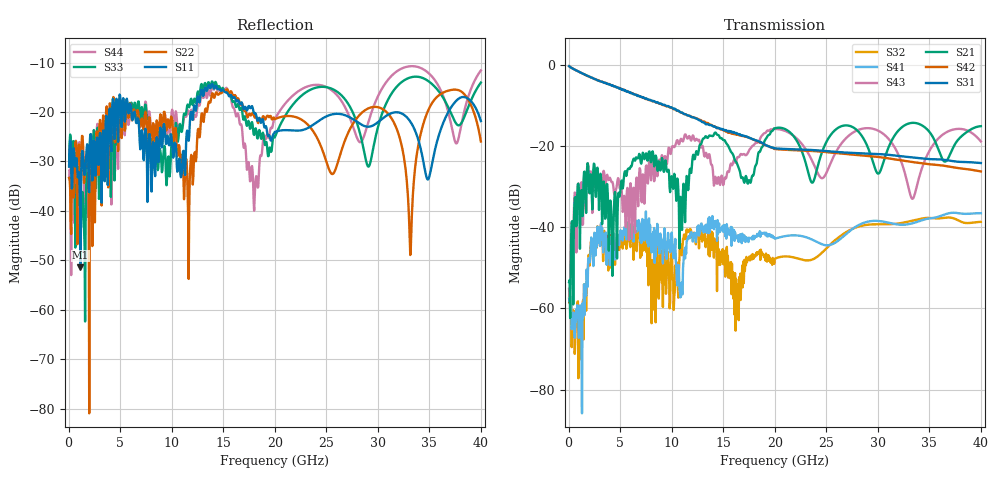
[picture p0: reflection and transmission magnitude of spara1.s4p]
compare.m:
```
%% compare concatenated touchstone files generated by the ads project and the new algorithm

%% loads the concatenated touchstone file generated by the ads project 
addpath('C:\Users\younger\Documents\MATLAB\_develop\_chasim\impulse_response_oct2012');
addpath('C:\Users\younger\Documents\MATLAB\_develop\_chasim\SYZ_conversions');

s4ppath = 'C:\Users\younger\Documents\MATLAB\_develop\_chasim\Qlogic_Cetus_wrk';
ads_s4pname = 'spara1.s4p';
ads_s4pfile = fullfile(s4ppath, ads_s4pname);
ads_s4pstruct = tsnpimporti(ads_s4pfile);

%% loads the three individual touchstone files used by the ads project and pass them onto the newly written concatenate function 



%% plot the two concatenated results in one graph 

for i = 1:800
    x(i) = ads_s4pstruct.data(1,1,i);
end

plot(ads_s4pstruct.freqlist, 10 * log(x));
xlabel('freq/Hz');
ylabel('S(1,1)/dB');
title('S-parameter comparison');
grid on;
hold;
```
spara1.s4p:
! Created Fri Jan 30 21:06:49 2015
# hz S ma R 50
! 4 Port Network Data from SP1.SP block
! freq  magS11  angS11  magS12  angS12  magS13  angS13  magS14  angS14
!  magS21  angS21  magS22  angS22  magS23  angS23  magS24  angS24
!  magS31  angS31  magS32  angS32  magS33  angS33  magS34  angS34
!  magS41  angS41  magS42  angS42  magS43  angS43  magS44  angS44
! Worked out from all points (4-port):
!   800 points, 50 MHz to 40 GHz, reference 50 ohm
!   strongest paths, dB at 50 MHz, 10.05 GHz, 20.05 GHz, 30.05 GHz, 40 GHz:
!     S31: -0.3, -10.5, -20.6, -21.9, -24.2
!     S42: -0.3, -10.6, -20.7, -22.7, -26.2
!     S21: -53.5, -27.8, -15.6, -26.8, -15.1
!     S43: -55.2, -20.1, -15.8, -16.2, -18.8
!     S41: -55.2, -42.9, -42.8, -38.4, -36.5
!     S32: -57.6, -48.6, -47.7, -39.3, -38.7
!   lowest |S11| = -51.4 dB at 1.15 GHz (marker M1), VSWR 1.01, Z = 50.3 - j0.0904 ohm
!   |S11| at or under -10 dB: start of sweep to end of sweep
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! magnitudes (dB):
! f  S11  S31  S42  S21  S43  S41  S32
! 50 MHz  -31.1  -0.3  -0.3  -53.5  -55.2  -55.2  -57.6
! 1.15 GHz  -51.4  -1.8  -1.8  -34.7  -32.1  -64.7  -70.6
! 40 GHz  -21.8  -24.2  -26.2  -15.1  -18.8  -36.5  -38.7
